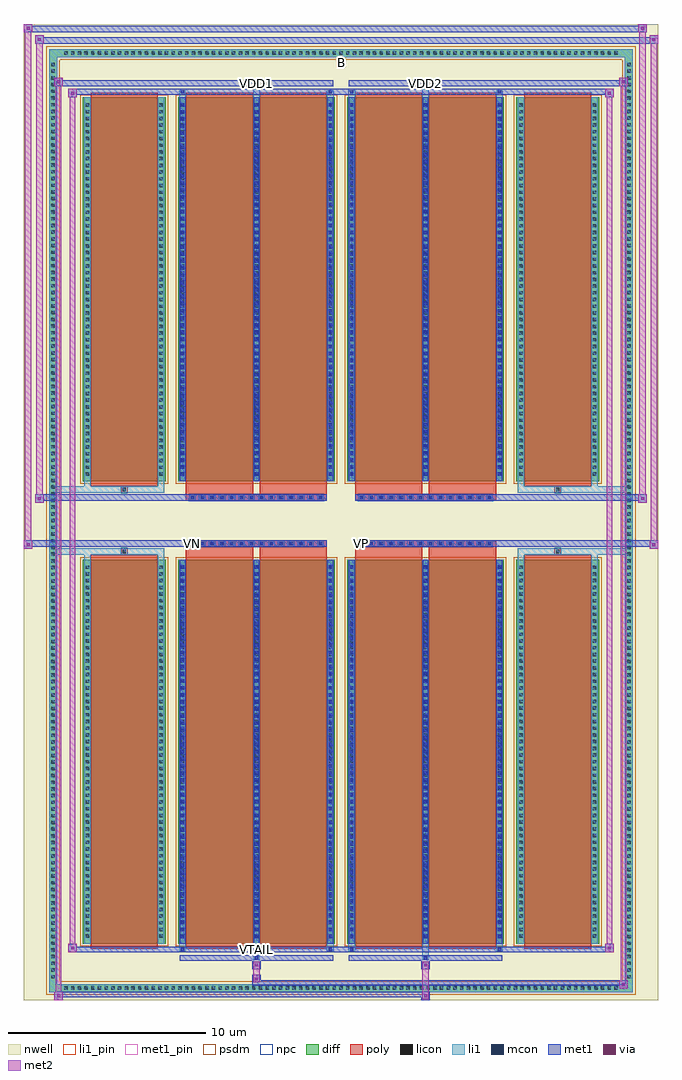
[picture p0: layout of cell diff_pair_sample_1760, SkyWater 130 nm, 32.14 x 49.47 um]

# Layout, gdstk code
import gdstk
lib = gdstk.Library(unit=1e-6, precision=5e-09)
def R(c, l, rs):  # rectangles x0, y0, x1, y1
    for r in rs: c.add(gdstk.rectangle(r[:2], r[2:], *l))
def A(c, l, x, y, w, h, nx, ny, dx, dy):  # array of equal rectangles
    R(c, l, [(x+i*dx, y+j*dy, x+i*dx+w, y+j*dy+h) for i in range(nx) for j in range(ny)])
def P(c, l, *ps):  # polygons
    for p in ps: c.add(gdstk.Polygon(p, *l))
nwell = (64, 20)
diff = (65, 20)
poly = (66, 20)
licon = (66, 44)
li1_pin = (67, 16)
li1 = (67, 20)
mcon = (67, 44)
met1_pin = (68, 16)
met1 = (68, 20)
via = (68, 44)
met2 = (69, 20)
psdm = (94, 20)
npc = (95, 20)

diff_pair_sample_1760 = lib.new_cell('diff_pair_sample_1760')
R(diff_pair_sample_1760, nwell, [(-16.07,-24.3,16.07,25.17), (-13.39,-22.49,-0.01,-0.805), (0.01,-22.49,13.39,-0.805), (-13.39,0.805,-0.01,22.49), (0.01,0.805,13.39,22.49)])
A(diff_pair_sample_1760, diff, -14.145, -23.9, 0.41, 0.41, 83, 2, 0.34, 47.39)
A(diff_pair_sample_1760, diff, -14.8, -23.325, 0.41, 0.41, 1, 137, 0, 0.34)
A(diff_pair_sample_1760, diff, 14.39, -23.325, 0.41, 0.41, 1, 137, 0, 0.34)
R(diff_pair_sample_1760, diff, [(-14.145,-23.9,14.145,-23.49), (-14.8,-23.325,-14.39,23.325), (14.39,-23.325,14.8,23.325), (-13.08,-21.445,-8.89,-1.985), (-8.25,-21.445,-0.32,-1.985), (0.32,-21.445,8.25,-1.985), (8.89,-21.445,13.08,-1.985), (-13.08,1.985,-8.89,21.445), (-8.25,1.985,-0.32,21.445), (0.32,1.985,8.25,21.445), (8.89,1.985,13.08,21.445), (-14.145,23.49,14.145,23.9)])
P(diff_pair_sample_1760, diff, [(14.8,23.9),(-14.8,23.9),(-14.8,-23.49),(-14.39,-23.49),(-14.39,23.49),(14.39,23.49),(14.39,-23.49),(-14.39,-23.49),(-14.8,-23.49),(-14.8,-23.9),(14.8,-23.9)])
A(diff_pair_sample_1760, poly, -7.7, -1.335, 0.33, 0.33, 14, 2, 0.5, 2.34)
A(diff_pair_sample_1760, poly, 0.87, -1.335, 0.33, 0.33, 14, 2, 0.5, 2.34)
R(diff_pair_sample_1760, poly, [(-12.69,-21.695,-9.28,-1.735), (-7.86,-21.695,-4.45,-1.735), (-4.12,-21.695,-0.71,-1.735), (0.71,-21.695,4.12,-1.735), (4.45,-21.695,7.86,-1.735), (9.28,-21.695,12.69,-1.735), (-11.15,-1.735,-10.82,-1.405), (-11.15,-1.735,-10.82,-1.405), (-7.86,-1.735,-4.45,-1.335), (-4.12,-1.735,-0.71,-1.335), (0.71,-1.735,4.12,-1.335), (4.45,-1.735,7.86,-1.335), (10.82,-1.735,11.15,-1.405), (10.82,-1.735,11.15,-1.405), (-7.86,-1.335,-0.71,-1.005), (0.71,-1.335,7.86,-1.005), (-7.86,1.005,-0.71,1.335), (0.71,1.005,7.86,1.335), (-7.86,1.335,-4.45,1.735), (-4.12,1.335,-0.71,1.735), (0.71,1.335,4.12,1.735), (4.45,1.335,7.86,1.735), (-11.15,1.405,-10.82,1.735), (-11.15,1.405,-10.82,1.735), (10.82,1.405,11.15,1.735), (10.82,1.405,11.15,1.735), (-12.69,1.735,-9.28,21.695), (-7.86,1.735,-4.45,21.695), (-4.12,1.735,-0.71,21.695), (0.71,1.735,4.12,21.695), (4.45,1.735,7.86,21.695), (9.28,1.735,12.69,21.695)])
A(diff_pair_sample_1760, licon, -14.025, -23.78, 0.17, 0.17, 83, 2, 0.34, 47.39)
A(diff_pair_sample_1760, licon, -14.68, -23.205, 0.17, 0.17, 1, 137, 0, 0.34)
A(diff_pair_sample_1760, licon, 14.51, -23.205, 0.17, 0.17, 1, 137, 0, 0.34)
A(diff_pair_sample_1760, licon, -12.94, -21.15, 0.17, 0.17, 1, 56, 0, 0.34)
A(diff_pair_sample_1760, licon, -9.2, -21.15, 0.17, 0.17, 1, 56, 0, 0.34)
A(diff_pair_sample_1760, licon, -8.11, -21.15, 0.17, 0.17, 3, 56, 3.74, 0.34)
A(diff_pair_sample_1760, licon, 0.46, -21.15, 0.17, 0.17, 3, 56, 3.74, 0.34)
A(diff_pair_sample_1760, licon, 9.03, -21.15, 0.17, 0.17, 1, 56, 0, 0.34)
A(diff_pair_sample_1760, licon, 12.77, -21.15, 0.17, 0.17, 1, 56, 0, 0.34)
A(diff_pair_sample_1760, licon, -7.62, -1.255, 0.17, 0.17, 14, 2, 0.5, 2.34)
A(diff_pair_sample_1760, licon, 0.95, -1.255, 0.17, 0.17, 14, 2, 0.5, 2.34)
A(diff_pair_sample_1760, licon, -12.94, 2.28, 0.17, 0.17, 1, 56, 0, 0.34)
A(diff_pair_sample_1760, licon, -9.2, 2.28, 0.17, 0.17, 1, 56, 0, 0.34)
A(diff_pair_sample_1760, licon, -8.11, 2.28, 0.17, 0.17, 3, 56, 3.74, 0.34)
A(diff_pair_sample_1760, licon, 0.46, 2.28, 0.17, 0.17, 3, 56, 3.74, 0.34)
A(diff_pair_sample_1760, licon, 9.03, 2.28, 0.17, 0.17, 1, 56, 0, 0.34)
A(diff_pair_sample_1760, licon, 12.77, 2.28, 0.17, 0.17, 1, 56, 0, 0.34)
R(diff_pair_sample_1760, licon, [(-11.07,-1.655,-10.9,-1.485), (10.9,-1.655,11.07,-1.485), (-11.07,1.485,-10.9,1.655), (10.9,1.485,11.07,1.655)])
R(diff_pair_sample_1760, li1_pin, [(-0.25,22.99,0.25,23.49)])
A(diff_pair_sample_1760, li1, -14.105, -23.86, 0.33, 0.33, 83, 2, 0.34, 47.39)
A(diff_pair_sample_1760, li1, -14.76, -23.285, 0.33, 0.33, 1, 137, 0, 0.34)
A(diff_pair_sample_1760, li1, 14.43, -23.285, 0.33, 0.33, 1, 137, 0, 0.34)
A(diff_pair_sample_1760, li1, -8.19, -21.445, 0.33, 19.46, 3, 2, 3.74, 23.43)
A(diff_pair_sample_1760, li1, 0.38, -21.445, 0.33, 19.46, 3, 2, 3.74, 23.43)
A(diff_pair_sample_1760, li1, -13.02, -21.23, 0.33, 0.33, 1, 56, 0, 0.34)
A(diff_pair_sample_1760, li1, -9.28, -21.23, 0.33, 0.33, 1, 56, 0, 0.34)
A(diff_pair_sample_1760, li1, -8.19, -21.23, 0.33, 0.33, 3, 56, 3.74, 0.34)
A(diff_pair_sample_1760, li1, 0.38, -21.23, 0.33, 0.33, 3, 56, 3.74, 0.34)
A(diff_pair_sample_1760, li1, 8.95, -21.23, 0.33, 0.33, 1, 56, 0, 0.34)
A(diff_pair_sample_1760, li1, 12.69, -21.23, 0.33, 0.33, 1, 56, 0, 0.34)
A(diff_pair_sample_1760, li1, -8.11, -21.16, 0.17, 0.17, 3, 53, 3.74, 0.36)
A(diff_pair_sample_1760, li1, -8.11, -21.16, 0.17, 18.89, 3, 2, 3.74, 23.43)
A(diff_pair_sample_1760, li1, 0.46, -21.16, 0.17, 0.17, 3, 53, 3.74, 0.36)
A(diff_pair_sample_1760, li1, 0.46, -21.16, 0.17, 18.89, 3, 2, 3.74, 23.43)
A(diff_pair_sample_1760, li1, -7.7, -1.335, 0.33, 0.33, 14, 2, 0.5, 2.34)
A(diff_pair_sample_1760, li1, 0.87, -1.335, 0.33, 0.33, 14, 2, 0.5, 2.34)
A(diff_pair_sample_1760, li1, -13.02, 2.2, 0.33, 0.33, 1, 56, 0, 0.34)
A(diff_pair_sample_1760, li1, -9.28, 2.2, 0.33, 0.33, 1, 56, 0, 0.34)
A(diff_pair_sample_1760, li1, -8.19, 2.2, 0.33, 0.33, 3, 56, 3.74, 0.34)
A(diff_pair_sample_1760, li1, 0.38, 2.2, 0.33, 0.33, 3, 56, 3.74, 0.34)
A(diff_pair_sample_1760, li1, 8.95, 2.2, 0.33, 0.33, 1, 56, 0, 0.34)
A(diff_pair_sample_1760, li1, 12.69, 2.2, 0.33, 0.33, 1, 56, 0, 0.34)
A(diff_pair_sample_1760, li1, -8.11, 2.27, 0.17, 0.17, 3, 53, 3.74, 0.36)
A(diff_pair_sample_1760, li1, 0.46, 2.27, 0.17, 0.17, 3, 53, 3.74, 0.36)
R(diff_pair_sample_1760, li1, [(-14.8,-23.9,-14.39,-23.49), (-14.8,-23.9,-14.39,-23.49), (-14.39,-23.9,14.39,-23.49), (14.39,-23.9,14.8,-23.49), (14.39,-23.9,14.8,-23.49), (-14.8,-23.49,-14.39,23.49), (14.39,-23.49,14.8,23.49), (-4.45,-22.25,-4.12,-21.445), (-4.37,-22.25,-4.2,-22.08), (4.12,-22.25,4.45,-21.445), (4.2,-22.25,4.37,-22.08), (-8.19,-21.82,-7.86,-21.445), (-8.11,-21.82,-7.94,-21.65), (-0.71,-21.82,-0.38,-21.445), (-0.63,-21.82,-0.46,-21.65), (0.38,-21.82,0.71,-21.445), (0.46,-21.82,0.63,-21.65), (7.86,-21.82,8.19,-21.445), (7.94,-21.82,8.11,-21.65), (-13.02,-21.445,-12.69,-1.985), (-9.28,-21.445,-8.95,-1.985), (8.95,-21.445,9.28,-1.985), (12.69,-21.445,13.02,-1.985), (-13.02,-1.985,-12.69,-1.405), (-9.28,-1.985,-8.95,-1.405), (8.95,-1.985,9.28,-1.405), (12.69,-1.985,13.02,-1.405), (-14.8,-1.735,-11.15,-1.405), (-13.02,-1.735,-11.15,-1.405), (-11.15,-1.735,-10.82,-1.405), (-10.82,-1.735,-8.95,-1.405), (8.95,-1.735,10.82,-1.405), (10.82,-1.735,11.15,-1.405), (10.82,-1.735,14.8,-1.405), (11.15,-1.735,13.02,-1.405), (-14.8,1.405,-11.15,1.735), (-13.02,1.405,-11.15,1.735), (-13.02,1.405,-12.69,1.985), (-11.15,1.405,-10.82,1.735), (-10.82,1.405,-8.95,1.735), (-9.28,1.405,-8.95,1.985), (8.95,1.405,10.82,1.735), (8.95,1.405,9.28,1.985), (10.82,1.405,11.15,1.735), (10.82,1.405,14.8,1.735), (11.15,1.405,13.02,1.735), (12.69,1.405,13.02,1.985), (-13.02,1.985,-12.69,21.445), (-9.28,1.985,-8.95,21.445), (8.95,1.985,9.28,21.445), (12.69,1.985,13.02,21.445), (-8.19,21.445,-7.86,21.82), (-4.45,21.445,-4.12,22.25), (-0.71,21.445,-0.38,21.82), (0.38,21.445,0.71,21.82), (4.12,21.445,4.45,22.25), (7.86,21.445,8.19,21.82), (-8.11,21.65,-7.94,21.82), (-0.63,21.65,-0.46,21.82), (0.46,21.65,0.63,21.82), (7.94,21.65,8.11,21.82), (-4.37,22.08,-4.2,22.25), (4.2,22.08,4.37,22.25), (-14.8,23.49,-14.39,23.9), (-14.8,23.49,-14.39,23.9), (-14.39,23.49,14.39,23.9), (14.39,23.49,14.8,23.9), (14.39,23.49,14.8,23.9)])
A(diff_pair_sample_1760, mcon, -8.11, -21.16, 0.17, 0.17, 3, 53, 3.74, 0.36)
A(diff_pair_sample_1760, mcon, 0.46, -21.16, 0.17, 0.17, 3, 53, 3.74, 0.36)
A(diff_pair_sample_1760, mcon, -7.62, -1.255, 0.17, 0.17, 14, 2, 0.5, 2.34)
A(diff_pair_sample_1760, mcon, 0.95, -1.255, 0.17, 0.17, 14, 2, 0.5, 2.34)
A(diff_pair_sample_1760, mcon, -8.11, 2.27, 0.17, 0.17, 3, 53, 3.74, 0.36)
A(diff_pair_sample_1760, mcon, 0.46, 2.27, 0.17, 0.17, 3, 53, 3.74, 0.36)
R(diff_pair_sample_1760, mcon, [(-4.37,-22.25,-4.2,-22.08), (4.2,-22.25,4.37,-22.08), (-8.11,-21.82,-7.94,-21.65), (-0.63,-21.82,-0.46,-21.65), (0.46,-21.82,0.63,-21.65), (7.94,-21.82,8.11,-21.65), (-8.11,21.65,-7.94,21.82), (-0.63,21.65,-0.46,21.82), (0.46,21.65,0.63,21.82), (7.94,21.65,8.11,21.82), (-4.37,22.08,-4.2,22.25), (4.2,22.08,4.37,22.25)])
R(diff_pair_sample_1760, met1_pin, [(-4.42,-21.86,-4.15,-21.59), (-7.67,-1.295,-7.4,-1.025), (0.9,-1.295,1.17,-1.025), (-4.42,22.04,-4.15,22.31), (4.15,22.04,4.42,22.31)])
A(diff_pair_sample_1760, met1, -8.17, -21.445, 0.29, 19.46, 3, 2, 3.74, 23.43)
A(diff_pair_sample_1760, met1, 0.4, -21.445, 0.29, 19.46, 3, 2, 3.74, 23.43)
A(diff_pair_sample_1760, met1, -8.17, -21.22, 0.29, 0.29, 3, 53, 3.74, 0.36)
A(diff_pair_sample_1760, met1, 0.4, -21.22, 0.29, 0.29, 3, 53, 3.74, 0.36)
A(diff_pair_sample_1760, met1, -7.68, -1.315, 0.29, 0.29, 14, 2, 0.5, 2.34)
A(diff_pair_sample_1760, met1, 0.89, -1.315, 0.29, 0.29, 14, 2, 0.5, 2.34)
A(diff_pair_sample_1760, met1, -8.17, 2.21, 0.29, 0.29, 3, 53, 3.74, 0.36)
A(diff_pair_sample_1760, met1, 0.4, 2.21, 0.29, 0.29, 3, 53, 3.74, 0.36)
R(diff_pair_sample_1760, met1, [(-14.53,-24.3,-14.1,-23.87), (4.07,-24.3,4.5,-23.87), (-14.53,-24.16,4.5,-23.87), (14.1,-23.73,14.53,-23.3), (-4.5,-23.59,14.53,-23.3), (-4.5,-23.45,-4.07,-23.02), (-4.5,-22.74,-4.07,-22.31), (4.07,-22.74,4.5,-22.31), (-8.17,-22.31,-0.4,-22.02), (-4.43,-22.31,-4.14,-22.02), (0.4,-22.31,8.17,-22.02), (4.14,-22.31,4.43,-22.02), (-13.82,-21.88,-13.39,-21.45), (-13.82,-21.88,-8.17,-21.59), (-8.17,-21.88,-7.88,-21.59), (-8.17,-21.88,-0.4,-21.59), (-0.69,-21.88,-0.4,-21.59), (-0.4,-21.88,0.4,-21.59), (0.4,-21.88,0.69,-21.59), (0.4,-21.88,8.17,-21.59), (7.88,-21.88,8.17,-21.59), (8.17,-21.88,13.82,-21.59), (13.39,-21.88,13.82,-21.45), (-16.07,-1.435,-15.64,-1.005), (15.64,-1.435,16.07,-1.005), (-16.07,-1.335,-0.71,-1.005), (-7.86,-1.335,-0.71,-1.005), (0.71,-1.335,7.86,-1.005), (0.71,-1.335,16.07,-1.005), (-15.5,0.905,-15.07,1.335), (15.07,0.905,15.5,1.335), (-15.5,1.005,-7.86,1.335), (-7.86,1.005,-0.71,1.335), (0.71,1.005,7.86,1.335), (7.86,1.005,15.5,1.335), (-13.82,21.45,-13.39,21.88), (13.39,21.45,13.82,21.88), (-13.82,21.59,-8.17,21.88), (-8.17,21.59,-7.88,21.88), (-8.17,21.59,-0.4,21.88), (-0.69,21.59,-0.4,21.88), (-0.4,21.59,0.4,21.88), (0.4,21.59,0.69,21.88), (0.4,21.59,8.17,21.88), (7.88,21.59,8.17,21.88), (8.17,21.59,13.82,21.88), (-14.53,22.02,-14.1,22.45), (-14.53,22.02,-8.17,22.31), (-8.17,22.02,-0.4,22.31), (-4.43,22.02,-4.14,22.31), (0.4,22.02,8.17,22.31), (4.14,22.02,4.43,22.31), (8.17,22.02,14.53,22.31), (14.1,22.02,14.53,22.45), (-15.5,24.17,-15.07,24.6), (-15.5,24.17,-13.39,24.5), (-13.39,24.17,13.39,24.5), (13.39,24.17,16.07,24.5), (15.64,24.17,16.07,24.6), (-16.07,24.74,-15.64,25.17), (-16.07,24.74,-13.39,25.07), (-13.39,24.74,13.39,25.07), (13.39,24.74,15.5,25.07), (15.07,24.74,15.5,25.17)])
R(diff_pair_sample_1760, via, [(-14.39,-24.16,-14.24,-24.01), (4.21,-24.16,4.36,-24.01), (14.24,-23.59,14.39,-23.44), (-4.36,-23.31,-4.21,-23.16), (-4.36,-22.6,-4.21,-22.45), (4.21,-22.6,4.36,-22.45), (-13.68,-21.74,-13.53,-21.59), (13.53,-21.74,13.68,-21.59), (-15.93,-1.295,-15.78,-1.145), (15.78,-1.295,15.93,-1.145), (-15.36,1.045,-15.21,1.195), (15.21,1.045,15.36,1.195), (-13.68,21.59,-13.53,21.74), (13.53,21.59,13.68,21.74), (-14.39,22.16,-14.24,22.31), (14.24,22.16,14.39,22.31), (-15.36,24.31,-15.21,24.46), (15.78,24.31,15.93,24.46), (-15.93,24.88,-15.78,25.03), (15.21,24.88,15.36,25.03)])
R(diff_pair_sample_1760, met2, [(-14.53,-24.3,-14.1,-23.87), (-14.46,-24.3,-14.17,22.45), (-14.17,-24.3,-14.1,-23.87), (-14.48,-24.25,-14.15,-23.92), (4.12,-24.25,4.45,-23.92), (4.12,-23.92,4.45,-22.69), (14.1,-23.73,14.53,-23.3), (14.17,-23.73,14.46,22.45), (14.46,-23.73,14.53,-23.3), (14.15,-23.68,14.48,-23.35), (-4.45,-23.4,-4.12,-23.07), (-4.45,-23.07,-4.12,-22.69), (-4.45,-22.69,-4.12,-22.36), (4.12,-22.69,4.45,-22.36), (-13.82,-21.88,-13.39,-21.45), (-13.75,-21.88,-13.46,21.88), (-13.46,-21.88,-13.39,-21.45), (13.39,-21.88,13.82,-21.45), (13.46,-21.88,13.75,21.88), (13.75,-21.88,13.82,-21.45), (-13.77,-21.83,-13.44,-21.5), (13.44,-21.83,13.77,-21.5), (-16.07,-1.435,-15.64,-1.005), (-16.02,-1.435,-15.69,25.17), (-15.69,-1.435,-15.64,-1.005), (15.64,-1.435,16.07,-1.005), (15.69,-1.435,16.02,24.6), (16.02,-1.435,16.07,-1.005), (-16.02,-1.385,-15.69,-1.055), (15.69,-1.385,16.02,-1.055), (-15.5,0.905,-15.07,1.335), (-15.45,0.905,-15.12,24.6), (-15.12,0.905,-15.07,1.335), (15.07,0.905,15.5,1.335), (15.12,0.905,15.45,25.17), (15.45,0.905,15.5,1.335), (-15.45,0.955,-15.12,1.285), (15.12,0.955,15.45,1.285), (-13.82,21.45,-13.39,21.88), (-13.46,21.45,-13.39,21.88), (13.39,21.45,13.82,21.88), (13.75,21.45,13.82,21.88), (-13.77,21.5,-13.44,21.83), (13.44,21.5,13.77,21.83), (-14.53,22.02,-14.1,22.45), (-14.17,22.02,-14.1,22.45), (14.1,22.02,14.53,22.45), (14.46,22.02,14.53,22.45), (-14.48,22.07,-14.15,22.4), (14.15,22.07,14.48,22.4), (-15.5,24.17,-15.07,24.6), (-15.12,24.17,-15.07,24.6), (15.64,24.17,16.07,24.6), (16.02,24.17,16.07,24.6), (-15.45,24.22,-15.12,24.55), (15.69,24.22,16.02,24.55), (-16.07,24.74,-15.64,25.17), (-15.69,24.74,-15.64,25.17), (15.07,24.74,15.5,25.17), (15.45,24.74,15.5,25.17), (-16.02,24.79,-15.69,25.12), (15.12,24.79,15.45,25.12)])
R(diff_pair_sample_1760, psdm, [(-13.21,-21.575,-8.76,-1.855), (-8.38,-21.575,-0.19,-1.855), (0.19,-21.575,8.38,-1.855), (8.76,-21.575,13.21,-1.855), (-13.21,1.855,-8.76,21.575), (-8.38,1.855,-0.19,21.575), (0.19,1.855,8.38,21.575), (8.76,1.855,13.21,21.575)])
P(diff_pair_sample_1760, psdm, [(14.93,24.03),(-14.93,24.03),(-14.93,-23.36),(-14.26,-23.36),(-14.26,23.36),(14.26,23.36),(14.26,-23.36),(-14.26,-23.36),(-14.93,-23.36),(-14.93,-24.03),(14.93,-24.03)])
A(diff_pair_sample_1760, npc, -7.72, -1.355, 0.37, 0.37, 14, 2, 0.5, 2.34)
A(diff_pair_sample_1760, npc, 0.85, -1.355, 0.37, 0.37, 14, 2, 0.5, 2.34)
R(diff_pair_sample_1760, npc, [(-11.17,-1.755,-10.8,-1.385), (10.8,-1.755,11.17,-1.385), (-7.72,-1.355,-6.85,-0.985), (-7.72,-1.355,-6.85,-0.985), (-7.22,-1.355,-6.35,-0.985), (-7.22,-1.355,-6.35,-0.985), (-6.72,-1.355,-5.85,-0.985), (-6.72,-1.355,-5.85,-0.985), (-6.22,-1.355,-5.35,-0.985), (-6.22,-1.355,-5.35,-0.985), (-5.72,-1.355,-4.85,-0.985), (-5.72,-1.355,-4.85,-0.985), (-5.22,-1.355,-4.35,-0.985), (-5.22,-1.355,-4.35,-0.985), (-4.72,-1.355,-3.85,-0.985), (-4.72,-1.355,-3.85,-0.985), (-4.22,-1.355,-3.35,-0.985), (-4.22,-1.355,-3.35,-0.985), (-3.72,-1.355,-2.85,-0.985), (-3.72,-1.355,-2.85,-0.985), (-3.22,-1.355,-2.35,-0.985), (-3.22,-1.355,-2.35,-0.985), (-2.72,-1.355,-1.85,-0.985), (-2.72,-1.355,-1.85,-0.985), (-2.22,-1.355,-1.35,-0.985), (-2.22,-1.355,-1.35,-0.985), (-1.72,-1.355,-0.85,-0.985), (-1.72,-1.355,-0.85,-0.985), (0.85,-1.355,1.72,-0.985), (0.85,-1.355,1.72,-0.985), (1.35,-1.355,2.22,-0.985), (1.35,-1.355,2.22,-0.985), (1.85,-1.355,2.72,-0.985), (1.85,-1.355,2.72,-0.985), (2.35,-1.355,3.22,-0.985), (2.35,-1.355,3.22,-0.985), (2.85,-1.355,3.72,-0.985), (2.85,-1.355,3.72,-0.985), (3.35,-1.355,4.22,-0.985), (3.35,-1.355,4.22,-0.985), (3.85,-1.355,4.72,-0.985), (3.85,-1.355,4.72,-0.985), (4.35,-1.355,5.22,-0.985), (4.35,-1.355,5.22,-0.985), (4.85,-1.355,5.72,-0.985), (4.85,-1.355,5.72,-0.985), (5.35,-1.355,6.22,-0.985), (5.35,-1.355,6.22,-0.985), (5.85,-1.355,6.72,-0.985), (5.85,-1.355,6.72,-0.985), (6.35,-1.355,7.22,-0.985), (6.35,-1.355,7.22,-0.985), (6.85,-1.355,7.72,-0.985), (6.85,-1.355,7.72,-0.985), (-7.72,0.985,-6.85,1.355), (-7.72,0.985,-6.85,1.355), (-7.22,0.985,-6.35,1.355), (-7.22,0.985,-6.35,1.355), (-6.72,0.985,-5.85,1.355), (-6.72,0.985,-5.85,1.355), (-6.22,0.985,-5.35,1.355), (-6.22,0.985,-5.35,1.355), (-5.72,0.985,-4.85,1.355), (-5.72,0.985,-4.85,1.355), (-5.22,0.985,-4.35,1.355), (-5.22,0.985,-4.35,1.355), (-4.72,0.985,-3.85,1.355), (-4.72,0.985,-3.85,1.355), (-4.22,0.985,-3.35,1.355), (-4.22,0.985,-3.35,1.355), (-3.72,0.985,-2.85,1.355), (-3.72,0.985,-2.85,1.355), (-3.22,0.985,-2.35,1.355), (-3.22,0.985,-2.35,1.355), (-2.72,0.985,-1.85,1.355), (-2.72,0.985,-1.85,1.355), (-2.22,0.985,-1.35,1.355), (-2.22,0.985,-1.35,1.355), (-1.72,0.985,-0.85,1.355), (-1.72,0.985,-0.85,1.355), (0.85,0.985,1.72,1.355), (0.85,0.985,1.72,1.355), (1.35,0.985,2.22,1.355), (1.35,0.985,2.22,1.355), (1.85,0.985,2.72,1.355), (1.85,0.985,2.72,1.355), (2.35,0.985,3.22,1.355), (2.35,0.985,3.22,1.355), (2.85,0.985,3.72,1.355), (2.85,0.985,3.72,1.355), (3.35,0.985,4.22,1.355), (3.35,0.985,4.22,1.355), (3.85,0.985,4.72,1.355), (3.85,0.985,4.72,1.355), (4.35,0.985,5.22,1.355), (4.35,0.985,5.22,1.355), (4.85,0.985,5.72,1.355), (4.85,0.985,5.72,1.355), (5.35,0.985,6.22,1.355), (5.35,0.985,6.22,1.355), (5.85,0.985,6.72,1.355), (5.85,0.985,6.72,1.355), (6.35,0.985,7.22,1.355), (6.35,0.985,7.22,1.355), (6.85,0.985,7.72,1.355), (6.85,0.985,7.72,1.355), (-11.17,1.385,-10.8,1.755), (10.8,1.385,11.17,1.755)])
diff_pair_sample_1760.add(gdstk.Label('VTAIL', (-4.285,-21.725), layer=68, texttype=5))
diff_pair_sample_1760.add(gdstk.Label('VN', (-7.535,-1.16), layer=68, texttype=5))
diff_pair_sample_1760.add(gdstk.Label('VP', (1.035,-1.16), layer=68, texttype=5))
diff_pair_sample_1760.add(gdstk.Label('B', (0,23.24), layer=67, texttype=5))
diff_pair_sample_1760.add(gdstk.Label('VDD2', (4.285,22.175), layer=68, texttype=5))
diff_pair_sample_1760.add(gdstk.Label('VDD1', (-4.285,22.175), layer=68, texttype=5))

lib.write_gds('diff_pair_sample_1760.gds')
